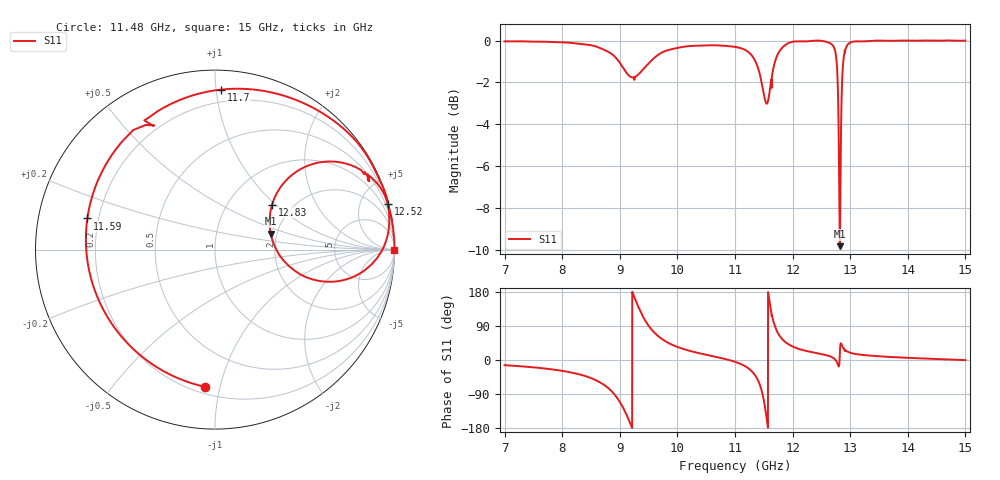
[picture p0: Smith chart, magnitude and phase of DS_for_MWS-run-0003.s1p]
! TOUCHSTONE file generated by CST DESIGN STUDIO
! Date and time: Mon Feb 10 16:45:20 2025
! Project name: C:\Work\MatlabApps\UnitCellType2OptimizationMatlab\CST\unitcell.cst
! Tree item: Tasks\Sweep1\SPara1\S-Parameters
! Header version: 2024
! Port assignment regex: !\s*Touchstone port\s*([0-9]+)\s*=\s*(CST MWS port|CST DES external port|CST DES block port)\s*(.+)\s* \(\"(.*)\"\)(\s*mode\s*([0-9]+))?.*
! Touchstone port assignment:
! Touchstone port 1 = CST DES external port 1 ("")
# GHz S MA R 50
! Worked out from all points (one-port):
!   4001 points, 7 GHz to 15 GHz, reference 50 ohm
!   lowest |S11| = -9.8 dB at 12.82 GHz (marker M1), VSWR 1.95, Z = 92.6 + j18.2 ohm
!   |S11| at or under -10 dB: nowhere
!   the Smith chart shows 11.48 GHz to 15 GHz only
!   S11 on the Smith chart (normalised r, x): 11.48 GHz: 0.24, -0.90; 11.59 GHz: 0.16, +0.12; 11.7 GHz: 0.12, +1.03; 12.52 GHz: 0.08, +7.68; 12.83 GHz: 1.58, +0.95; 15 GHz: open
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7  0.9957 -13.7
8  0.9899 -28.6
8.624  0.9634 -56.3
9  0.8849 -110.5
9.22  0.8162 178.2
9.336  0.8334 135.5
9.436  0.8626 105.4
9.684  0.928 60.8
10  0.9601 34.5
11  0.9655 -4.7
11.324  0.9076 -35.2
11.41  0.851 -57.2
11.484  0.7663 -94.2
11.53  0.714 -133.2
11.586  0.732 166.3
11.64  0.8205 118.7
11.696  0.8922 87.8
11.816  0.9598 55.7
12  0.9932 35.6
12.522  0.9973 14.8
12.734  0.9496 2.2
12.78  0.8147 -9.5
12.82  0.3223 15.8
12.828  0.4047 38.3
12.874  0.8717 33.4
13  0.9889 19.2
14  0.9991 5.7
15  0.9997 -0.3
